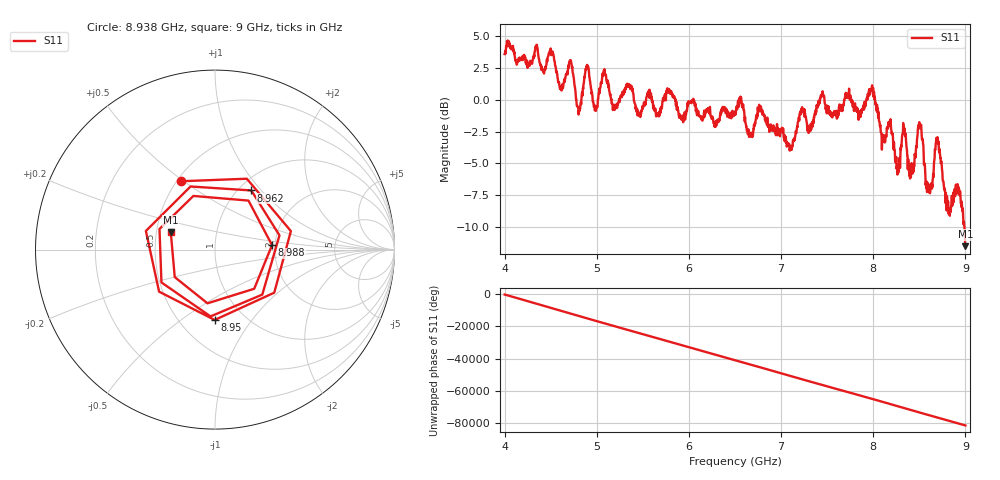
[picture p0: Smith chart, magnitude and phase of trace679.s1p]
! Created with skrf 1.8.0 (http://scikit-rf.org).
# Hz S RI R 50.0
!freq ReS11 ImS11
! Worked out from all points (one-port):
!   1601 points, 4 GHz to 9 GHz, reference 50 ohm
!   lowest |S11| = -11.5 dB at 9 GHz (marker M1), VSWR 1.72, Z = 29.7 + j6.21 ohm
!   |S11| at or under -10 dB: 8.988732 GHz to end of sweep
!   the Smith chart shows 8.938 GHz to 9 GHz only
!   S11 on the Smith chart (normalised r, x): 8.938 GHz: 0.53, +0.49; 8.95 GHz: 0.73, -0.68; 8.962 GHz: 1.14, +0.88; 8.988 GHz: 1.93, +0.11; 9 GHz: 0.59, +0.12
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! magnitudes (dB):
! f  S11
! 4 GHz  3.6
! 4.506 GHz  3.5
! 4.625 GHz  0.9
! 4.712 GHz  3.0
! 4.806 GHz  -0.8
! 4.891 GHz  2.7
! 4.981 GHz  -0.8
! 5.081 GHz  2.1
! 5.25 GHz  0.1
! 5.875 GHz  -0.7
! 6.5 GHz  -0.9
! 7.125 GHz  -3.7
! 7.228 GHz  -0.6
! 7.75 GHz  0.4
! 7.991 GHz  0.8
! 8.106 GHz  -2.9
! 8.334 GHz  -2.4
! 8.375 GHz  -5.5
! 8.419 GHz  -5.5
! 8.506 GHz  -2.2
! 8.594 GHz  -6.9
! 8.694 GHz  -3.3
! 8.816 GHz  -8.6
! 8.938 GHz  -7.4
! 8.95 GHz  -8.1
! 8.962 GHz  -8.3
! 8.988 GHz  -9.9
! 9 GHz  -11.5
